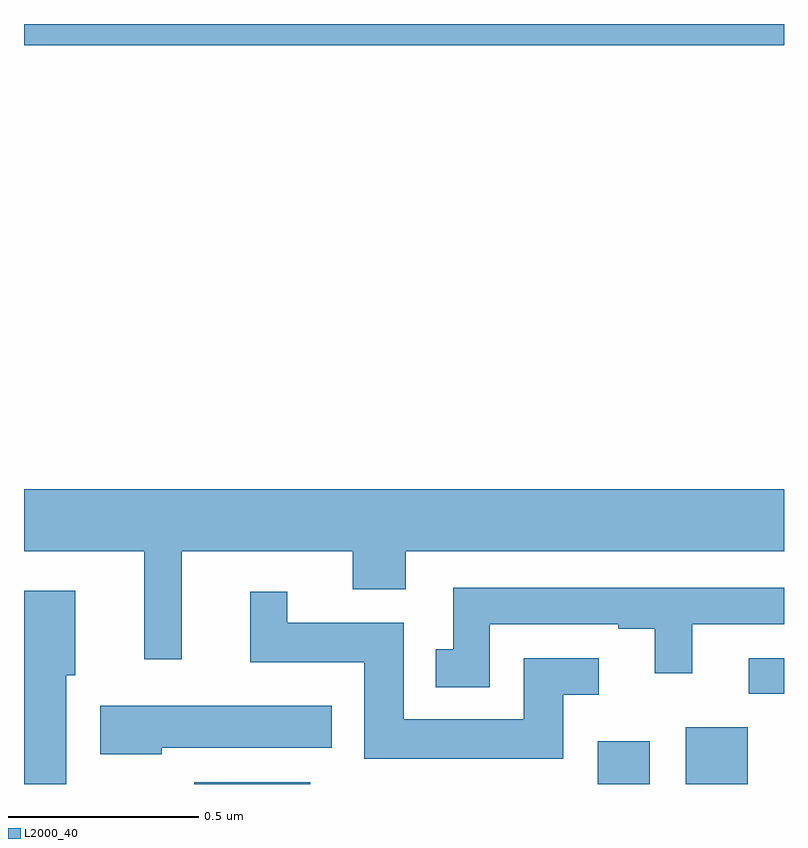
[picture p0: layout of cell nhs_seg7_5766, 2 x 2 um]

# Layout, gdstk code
import gdstk
lib = gdstk.Library(unit=1e-6, precision=1e-09)
def R(c, l, rs):  # rectangles x0, y0, x1, y1
    for r in rs: c.add(gdstk.rectangle(r[:2], r[2:], *l))
def P(c, l, *ps):  # polygons
    for p in ps: c.add(gdstk.Polygon(p, *l))
L2000_40 = (2000, 40)

nhs_seg7_5766 = lib.new_cell('nhs_seg7_5766')
R(nhs_seg7_5766, L2000_40, [(190.448,1004,190.753,1004.005), (191.51,1004,191.647,1004.113), (191.741,1004,191.905,1004.149), (191.907,1004.238,192,1004.331), (190,1005.944,192,1006)])
P(nhs_seg7_5766, L2000_40, [(190.415,1004.612),(190.865,1004.612),(190.865,1004.513),(191.005,1004.513),(191.005,1004.612),(192,1004.612),(192,1004.776),(190,1004.776),(190,1004.612),(190.316,1004.612),(190.316,1004.328),(190.415,1004.328)],
  [(191.226,1004.421),(191.564,1004.421),(191.564,1004.409),(191.66,1004.409),(191.66,1004.292),(191.758,1004.292),(191.758,1004.421),(192,1004.421),(192,1004.517),(191.13,1004.517),(191.13,1004.355),(191.084,1004.355),(191.084,1004.255),(191.226,1004.255)],
  [(190.111,1004.286),(190.135,1004.286),(190.135,1004.509),(190.001,1004.509),(190.001,1004),(190.111,1004)],
  [(191.419,1004.235),(191.512,1004.235),(191.512,1004.331),(191.315,1004.331),(191.315,1004.17),(190.999,1004.17),(190.999,1004.425),(190.693,1004.425),(190.693,1004.506),(190.595,1004.506),(190.595,1004.321),(190.895,1004.321),(190.895,1004.066),(191.419,1004.066)],
  [(190.362,1004.096),(190.81,1004.096),(190.81,1004.206),(190.2,1004.206),(190.2,1004.078),(190.362,1004.078)])

lib.write_gds('nhs_seg7_5766.gds')
